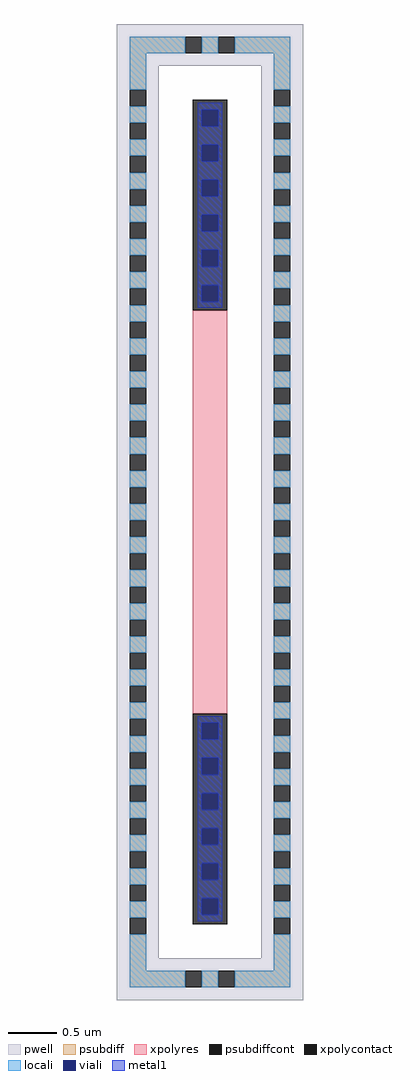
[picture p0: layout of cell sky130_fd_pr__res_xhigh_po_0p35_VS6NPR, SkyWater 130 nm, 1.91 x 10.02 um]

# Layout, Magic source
magic
tech sky130A
magscale 1 2
<< pwell >>
rect -191 916 191 1002
rect -191 -916 -105 916
rect 105 -916 191 916
rect -191 -1002 191 -916
<< psubdiff >>
rect -165 942 -51 976
rect -17 942 17 976
rect 51 942 165 976
rect -165 867 -131 942
rect 131 867 165 942
rect -165 799 -131 833
rect -165 731 -131 765
rect -165 663 -131 697
rect -165 595 -131 629
rect -165 527 -131 561
rect -165 459 -131 493
rect -165 391 -131 425
rect -165 323 -131 357
rect -165 255 -131 289
rect -165 187 -131 221
rect -165 119 -131 153
rect -165 51 -131 85
rect -165 -17 -131 17
rect -165 -85 -131 -51
rect -165 -153 -131 -119
rect -165 -221 -131 -187
rect -165 -289 -131 -255
rect -165 -357 -131 -323
rect -165 -425 -131 -391
rect -165 -493 -131 -459
rect -165 -561 -131 -527
rect -165 -629 -131 -595
rect -165 -697 -131 -663
rect -165 -765 -131 -731
rect -165 -833 -131 -799
rect 131 799 165 833
rect 131 731 165 765
rect 131 663 165 697
rect 131 595 165 629
rect 131 527 165 561
rect 131 459 165 493
rect 131 391 165 425
rect 131 323 165 357
rect 131 255 165 289
rect 131 187 165 221
rect 131 119 165 153
rect 131 51 165 85
rect 131 -17 165 17
rect 131 -85 165 -51
rect 131 -153 165 -119
rect 131 -221 165 -187
rect 131 -289 165 -255
rect 131 -357 165 -323
rect 131 -425 165 -391
rect 131 -493 165 -459
rect 131 -561 165 -527
rect 131 -629 165 -595
rect 131 -697 165 -663
rect 131 -765 165 -731
rect 131 -833 165 -799
rect -165 -942 -131 -867
rect 131 -942 165 -867
rect -165 -976 -51 -942
rect -17 -976 17 -942
rect 51 -976 165 -942
<< psubdiffcont >>
rect -51 942 -17 976
rect 17 942 51 976
rect -165 833 -131 867
rect -165 765 -131 799
rect -165 697 -131 731
rect -165 629 -131 663
rect -165 561 -131 595
rect -165 493 -131 527
rect -165 425 -131 459
rect -165 357 -131 391
rect -165 289 -131 323
rect -165 221 -131 255
rect -165 153 -131 187
rect -165 85 -131 119
rect -165 17 -131 51
rect -165 -51 -131 -17
rect -165 -119 -131 -85
rect -165 -187 -131 -153
rect -165 -255 -131 -221
rect -165 -323 -131 -289
rect -165 -391 -131 -357
rect -165 -459 -131 -425
rect -165 -527 -131 -493
rect -165 -595 -131 -561
rect -165 -663 -131 -629
rect -165 -731 -131 -697
rect -165 -799 -131 -765
rect -165 -867 -131 -833
rect 131 833 165 867
rect 131 765 165 799
rect 131 697 165 731
rect 131 629 165 663
rect 131 561 165 595
rect 131 493 165 527
rect 131 425 165 459
rect 131 357 165 391
rect 131 289 165 323
rect 131 221 165 255
rect 131 153 165 187
rect 131 85 165 119
rect 131 17 165 51
rect 131 -51 165 -17
rect 131 -119 165 -85
rect 131 -187 165 -153
rect 131 -255 165 -221
rect 131 -323 165 -289
rect 131 -391 165 -357
rect 131 -459 165 -425
rect 131 -527 165 -493
rect 131 -595 165 -561
rect 131 -663 165 -629
rect 131 -731 165 -697
rect 131 -799 165 -765
rect 131 -867 165 -833
rect -51 -976 -17 -942
rect 17 -976 51 -942
<< xpolycontact >>
rect -35 414 35 846
rect -35 -846 35 -414
<< xpolyres >>
rect -35 -414 35 414
<< locali >>
rect -165 942 -51 976
rect -17 942 17 976
rect 51 942 165 976
rect -165 867 -131 942
rect 131 867 165 942
rect -165 799 -131 833
rect -165 731 -131 765
rect -165 663 -131 697
rect -165 595 -131 629
rect -165 527 -131 561
rect -165 459 -131 493
rect -165 391 -131 425
rect 131 799 165 833
rect 131 731 165 765
rect 131 663 165 697
rect 131 595 165 629
rect 131 527 165 561
rect 131 459 165 493
rect -165 323 -131 357
rect -165 255 -131 289
rect -165 187 -131 221
rect -165 119 -131 153
rect -165 51 -131 85
rect -165 -17 -131 17
rect -165 -85 -131 -51
rect -165 -153 -131 -119
rect -165 -221 -131 -187
rect -165 -289 -131 -255
rect -165 -357 -131 -323
rect -165 -425 -131 -391
rect 131 391 165 425
rect 131 323 165 357
rect 131 255 165 289
rect 131 187 165 221
rect 131 119 165 153
rect 131 51 165 85
rect 131 -17 165 17
rect 131 -85 165 -51
rect 131 -153 165 -119
rect 131 -221 165 -187
rect 131 -289 165 -255
rect 131 -357 165 -323
rect -165 -493 -131 -459
rect -165 -561 -131 -527
rect -165 -629 -131 -595
rect -165 -697 -131 -663
rect -165 -765 -131 -731
rect -165 -833 -131 -799
rect 131 -425 165 -391
rect 131 -493 165 -459
rect 131 -561 165 -527
rect 131 -629 165 -595
rect 131 -697 165 -663
rect 131 -765 165 -731
rect 131 -833 165 -799
rect -165 -942 -131 -867
rect 131 -942 165 -867
rect -165 -976 -51 -942
rect -17 -976 17 -942
rect 51 -976 165 -942
<< viali >>
rect -17 792 17 826
rect -17 720 17 754
rect -17 648 17 682
rect -17 576 17 610
rect -17 504 17 538
rect -17 432 17 466
rect -17 -467 17 -433
rect -17 -539 17 -505
rect -17 -611 17 -577
rect -17 -683 17 -649
rect -17 -755 17 -721
rect -17 -827 17 -793
<< metal1 >>
rect -25 826 25 840
rect -25 792 -17 826
rect 17 792 25 826
rect -25 754 25 792
rect -25 720 -17 754
rect 17 720 25 754
rect -25 682 25 720
rect -25 648 -17 682
rect 17 648 25 682
rect -25 610 25 648
rect -25 576 -17 610
rect 17 576 25 610
rect -25 538 25 576
rect -25 504 -17 538
rect 17 504 25 538
rect -25 466 25 504
rect -25 432 -17 466
rect 17 432 25 466
rect -25 419 25 432
rect -25 -433 25 -419
rect -25 -467 -17 -433
rect 17 -467 25 -433
rect -25 -505 25 -467
rect -25 -539 -17 -505
rect 17 -539 25 -505
rect -25 -577 25 -539
rect -25 -611 -17 -577
rect 17 -611 25 -577
rect -25 -649 25 -611
rect -25 -683 -17 -649
rect 17 -683 25 -649
rect -25 -721 25 -683
rect -25 -755 -17 -721
rect 17 -755 25 -721
rect -25 -793 25 -755
rect -25 -827 -17 -793
rect 17 -827 25 -793
rect -25 -840 25 -827
<< properties >>
string FIXED_BBOX -148 -959 148 959
<< end >>
